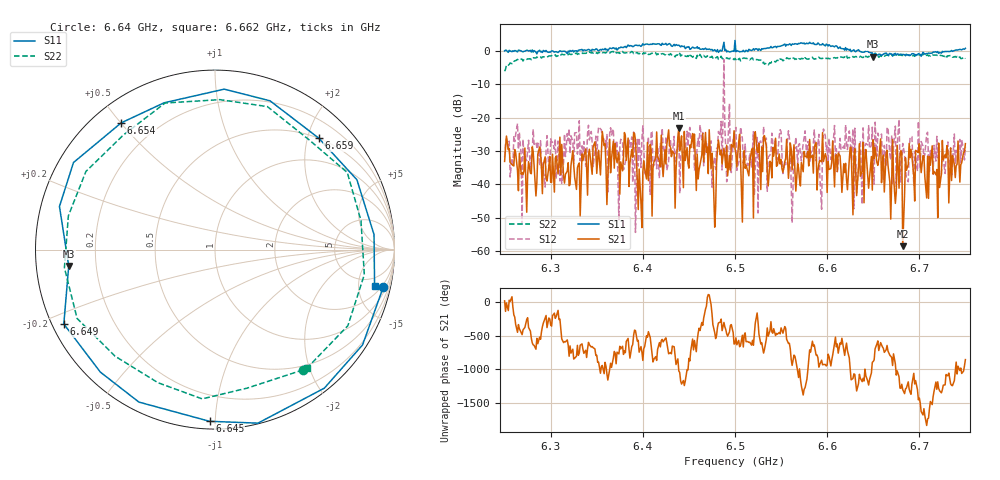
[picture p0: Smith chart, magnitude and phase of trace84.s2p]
# Hz S RI R 50
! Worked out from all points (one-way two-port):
!   401 points, 6.25 GHz to 6.75 GHz, reference 50 ohm
!   highest |S21| = -23.15 dB at 6.439 GHz (marker M1); lowest = -58.5 dB at 6.682 GHz (marker M2)
!   lowest |S11| = -1.7 dB at 6.65 GHz (marker M3), VSWR 10.11, Z = 4.96 - j2.75 ohm
!   |S11| at or under -10 dB: nowhere
!   |S22| runs from -6.1 to -0.2 dB; largest |S21 - S12| = 0.72
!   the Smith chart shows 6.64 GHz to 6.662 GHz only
!   S11 on the Smith chart (normalised r, x): 6.64 GHz: 1.60, -8.71; 6.645 GHz: 0.04, -0.97; 6.649 GHz: 0.03, -0.23; 6.654 GHz: 0.08, +0.50; 6.659 GHz: 0.50, +2.20; 6.662 GHz: 3.08, -7.54
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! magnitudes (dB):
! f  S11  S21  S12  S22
! 6.25 GHz  0.0  -33.1  -31.9  -6.1
! 6.334 GHz  0.4  -30.9  -28.4  -0.6
! 6.39 GHz  1.4  -24.6  -24.3  -0.8
! 6.396 GHz  1.7  -35.4  -26.0  -0.7
! 6.418 GHz  2.1  -33.0  -38.2  -1.1
! 6.439 GHz  1.8  -23.2  -23.6  -1.4
! 6.47 GHz  0.5  -28.8  -29.9  -1.5
! 6.476 GHz  0.0  -33.7  -36.0  -2.1
! 6.485 GHz  0.0  -29.7  -21.1  -1.6
! 6.5 GHz  3.1  -29.3  -23.4  -2.2
! 6.524 GHz  0.6  -30.0  -25.9  -2.6
! 6.584 GHz  2.2  -31.3  -32.0  -1.9
! 6.64 GHz  -0.4  -45.5  -31.6  -1.6
! 6.645 GHz  -0.4  -41.2  -22.4  -1.8
! 6.649 GHz  -0.5  -41.7  -22.8  -1.5
! 6.65 GHz  -1.7  -26.7  -34.3  -1.5
! 6.654 GHz  -1.1  -33.5  -31.6  -1.6
! 6.659 GHz  -1.4  -39.5  -24.9  -1.6
! 6.662 GHz  -0.8  -42.3  -28.3  -1.6
! 6.668 GHz  -0.8  -39.3  -31.1  -1.6
! 6.682 GHz  -1.0  -58.5  -27.7  -1.4
! 6.75 GHz  0.8  -27.8  -28.7  -2.3
